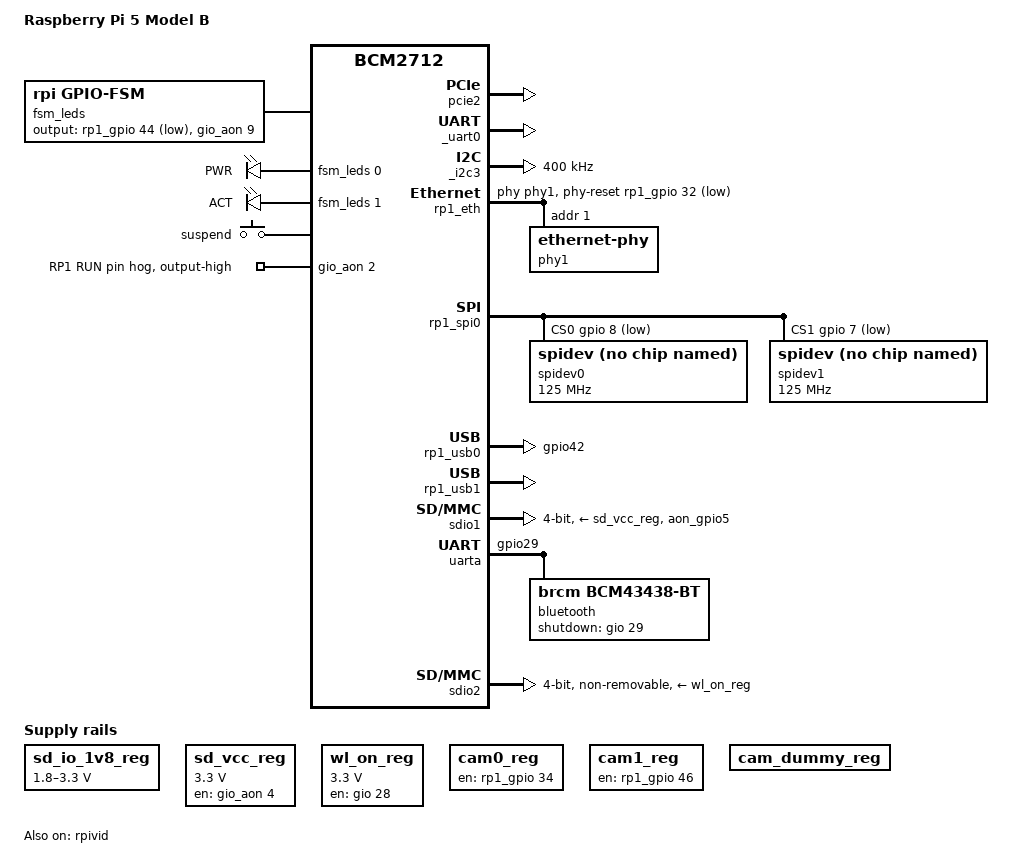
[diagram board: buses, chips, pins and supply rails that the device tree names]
// SPDX-License-Identifier: GPL-2.0
/dts-v1/;

#include <dt-bindings/gpio/gpio.h>
#include <dt-bindings/clock/rp1.h>
#include <dt-bindings/interrupt-controller/irq.h>
#include <dt-bindings/mfd/rp1.h>
#include <dt-bindings/pwm/pwm.h>
#include <dt-bindings/reset/raspberrypi,firmware-reset.h>
#include <dt-bindings/gpio/gpio-fsm.h>

#define PWR   GF_SW(0)
#define ACT   GF_SW(1)
#define RED   GF_OP(0)
#define GREEN GF_OP(1)

#define i2c0 _i2c0
#define i2c3 _i2c3
#define i2c4 _i2c4
#define i2c5 _i2c5
#define i2c6 _i2c6
#define i2c8 _i2c8
#define i2s _i2s
#define pwm0 _pwm0
#define pwm1 _pwm1
#define spi0 _spi0
#define spi3 _spi3
#define spi4 _spi4
#define spi5 _spi5
#define spi6 _spi6
#define uart0 _uart0
#define uart2 _uart2
#define uart3 _uart3
#define uart4 _uart4
#define uart5 _uart5

#include "bcm2712.dtsi"

#undef i2c0
#undef i2c3
#undef i2c4
#undef i2c5
#undef i2c6
#undef i2c8
#undef i2s
#undef pwm0
#undef pwm1
#undef spi0
#undef spi3
#undef spi4
#undef spi5
#undef spi6
#undef uart0
#undef uart2
#undef uart3
#undef uart4
#undef uart5

/ {
	compatible = "raspberrypi,5-model-b", "brcm,bcm2712";
	model = "Raspberry Pi 5 Model B";

	/* Will be filled by the bootloader */
	memory@0 {
		device_type = "memory";
		reg = <0 0 0x28000000>;
	};

	fsm_leds: fsm_leds {
		compatible = "rpi,gpio-fsm";

		debug = <0>;
		gpio-controller;
		#gpio-cells = <2>;
		num-swgpios = <2>;
		gpio-line-names = "pwr", "act";
		output-gpios = <&rp1_gpio 44 GPIO_ACTIVE_LOW>,  // RED
			       <&gio_aon   9 GPIO_ACTIVE_HIGH>; // GREEN
		shutdown-timeout-ms = <200>;

		p1a0 {
			start_state;
			shutdown_state;
			set = <RED 1>, <GREEN 0>;
			p1a1 = <ACT 1>;
			p0a0 = <PWR 0>;
		};

		p1a1 {
			set = <RED 0>, <GREEN 1>;
			p1a1_dally = <ACT 0>;
			p1a0 = <GF_SHUTDOWN 0>;
			p0a1 = <PWR 0>;
		};

		p1a1_dally {
			set = <GREEN 1>;
			p1a0 = <GF_DELAY 50>, <GF_SHUTDOWN 0>;
			p1a1 = <ACT 1>;
			p0a0 = <PWR 0>;
		};

		p0a0 {
			shutdown_state;
			set = <RED 0>, <GREEN 0>;
			p0a1 = <ACT 1>;
			p1a0 = <PWR 1>;
		};

		p0a1 {
			set = <RED 0>, <GREEN 1>;
			p0a0 = <ACT 0>, <GF_SHUTDOWN 0>;
			p1a1 = <PWR 1>;
		};
	};

	leds: leds {
		compatible = "gpio-leds";

		pwr_led: led-pwr {
			label = "PWR";
			gpios = <&fsm_leds 0 GPIO_ACTIVE_HIGH>;
			default-state = "off";
			linux,default-trigger = "default-on";
		};

		act_led: led-act {
			label = "ACT";
			gpios = <&fsm_leds 1 GPIO_ACTIVE_HIGH>;
			default-state = "off";
			linux,default-trigger = "mmc0";
		};
	};

	sd_io_1v8_reg: sd_io_1v8_reg {
		compatible = "regulator-gpio";
		regulator-name = "vdd-sd-io";
		regulator-min-microvolt = <1800000>;
		regulator-max-microvolt = <3300000>;
		regulator-boot-on;
		regulator-always-on;
		regulator-settling-time-us = <5000>;
		gpios = <&gio_aon 3 GPIO_ACTIVE_HIGH>;
		states = <1800000 0x1
			  3300000 0x0>;
		status = "okay";
	};

	sd_vcc_reg: sd_vcc_reg {
		compatible = "regulator-fixed";
		regulator-name = "vcc-sd";
		regulator-min-microvolt = <3300000>;
		regulator-max-microvolt = <3300000>;
		regulator-boot-on;
		enable-active-high;
		gpios = <&gio_aon 4 GPIO_ACTIVE_HIGH>;
		status = "okay";
	};

	wl_on_reg: wl_on_reg {
		compatible = "regulator-fixed";
		regulator-name = "wl-on-regulator";
		regulator-min-microvolt = <3300000>;
		regulator-max-microvolt = <3300000>;
		pinctrl-0 = <&wl_on_pins>;
		pinctrl-names = "default";

		gpio = <&gio 28 GPIO_ACTIVE_HIGH>;

		startup-delay-us = <150000>;
		enable-active-high;
	};

	clocks: clocks {
	};

	cam1_clk: cam1_clk {
		compatible = "fixed-clock";
		#clock-cells = <0>;
		status = "disabled";
	};

	cam0_clk: cam0_clk {
		compatible = "fixed-clock";
		#clock-cells = <0>;
		status = "disabled";
	};

	cam0_reg: cam0_reg {
		compatible = "regulator-fixed";
		regulator-name = "cam0_reg";
		enable-active-high;
		status = "okay";
		gpio = <&rp1_gpio 34 0>;  // CD0_IO0_MICCLK, to MIPI 0 connector
	};

	cam1_reg: cam1_reg {
		compatible = "regulator-fixed";
		regulator-name = "cam1_reg";
		enable-active-high;
		status = "okay";
		gpio = <&rp1_gpio 46 0>;  // CD1_IO0_MICCLK, to MIPI 1 connector
	};

	cam_dummy_reg: cam_dummy_reg {
		compatible = "regulator-fixed";
		regulator-name = "cam-dummy-reg";
		status = "okay";
	};
};

rp1_target: &pcie2 {
	status = "okay";
};

// Add some labels to 2712 device

// The system UART
uart10: &_uart0 { status = "okay"; };

i2c_rp1boot: &_i2c3 { };

#include "rp1.dtsi"

&rp1 {
	// PCIe address space layout:
	// 00_00000000-00_00xxxxxx = RP1 peripherals
	// 10_00000000-1x_xxxxxxxx = up to 64GB system RAM

	// outbound access aimed at PCIe 0_00xxxxxx -> RP1 c0_40xxxxxx
	// This is the RP1 peripheral space
	ranges = <0xc0 0x40000000
		  0x02000000 0x00 0x00000000
		  0x00 0x00400000>;

	dma-ranges =
	// inbound RP1 1x_xxxxxxxx -> PCIe 1x_xxxxxxxx
		     <0x10 0x00000000
		      0x43000000 0x10 0x00000000
		      0x10 0x00000000>,

	// inbound RP1 c0_40xxxxxx -> PCIe 00_00xxxxxx
	// This allows the RP1 DMA controller to address RP1 hardware
		     <0xc0 0x40000000
		      0x02000000 0x0 0x00000000
		      0x0 0x00400000>,

	// inbound RP1 0x_xxxxxxxx -> PCIe 1x_xxxxxxxx
		     <0x00 0x00000000
		      0x02000000 0x10 0x00000000
		      0x10 0x00000000>;
};

// Expose RP1 nodes as system nodes with labels

&rp1_dma  {
	status = "okay";
};

&rp1_eth {
	status = "okay";
	phy-handle = <&phy1>;
	phy-reset-gpios = <&rp1_gpio 32 GPIO_ACTIVE_LOW>;
	phy-reset-duration = <5>;

	phy1: ethernet-phy@1 {
		reg = <0x1>;
	};
};

gpio: &rp1_gpio {
	status = "okay";
};

i2c0: &rp1_i2c0 { };
i2c1: &rp1_i2c1 { };
i2c2: &rp1_i2c2 { };
i2c3: &rp1_i2c3 { };
i2c4: &rp1_i2c4 { };
i2c5: &rp1_i2c5 { };
i2c6: &rp1_i2c6 { };
i2s:  &rp1_i2s0 { };
i2s_clk_producer: &rp1_i2s0 { };
i2s_clk_consumer: &rp1_i2s1 { };
pwm0: &rp1_pwm0 { };
pwm1: &rp1_pwm1 { };
spi0: &rp1_spi0 { };
spi1: &rp1_spi1 { };
spi2: &rp1_spi2 { };
spi3: &rp1_spi3 { };
spi4: &rp1_spi4 { };
spi5: &rp1_spi5 { };
vec: &rp1_vec { };

uart0_pins: &rp1_uart0_14_15 {};
uart0_ctsrts_pins: &rp1_uart0_ctsrts_16_17 {};
uart0: &rp1_uart0 {
	pinctrl-0 = <&uart0_pins>;
};

uart1_pins: &rp1_uart1_0_1 {};
uart1_ctsrts_pins: &rp1_uart1_ctsrts_2_3 {};
uart1: &rp1_uart1 { };

uart2_pins: &rp1_uart2_4_5 {};
uart2_ctsrts_pins: &rp1_uart2_ctsrts_6_7 {};
uart2: &rp1_uart2 { };

uart3_pins: &rp1_uart3_8_9 {};
uart3_ctsrts_pins: &rp1_uart3_ctsrts_10_11 {};
uart3: &rp1_uart3 { };

uart4_pins: &rp1_uart4_12_13 {};
uart4_ctsrts_pins: &rp1_uart4_ctsrts_14_15 {};
uart4: &rp1_uart4 { };

&rp1_usb0 {
	pinctrl-0 = <&usb_vbus_pins>;
	pinctrl-names = "default";
	status = "okay";
};

&rp1_usb1 {
	status = "okay";
};

// A few extra labels to keep overlays happy

i2c0if: &rp1_gpio {};
i2c0mux: &rp1_gpio {};

i2c_csi_dsi0: &i2c6 { // Note: This is for MIPI0 connector only
	pinctrl-0 = <&rp1_i2c6_38_39>;
	pinctrl-names = "default";
};

i2c_csi_dsi1: &i2c4 { // Note: This is for MIPI1 connector only
	pinctrl-0 = <&rp1_i2c4_40_41>;
	pinctrl-names = "default";
};

i2c_csi_dsi: &i2c_csi_dsi1 { }; // An alias for compatibility

i2c_vc: &i2c0 {      // This is pins 27,28 on the header (not MIPI)
	pinctrl-0 = <&rp1_i2c0_0_1>;
	pinctrl-names = "default";
};

i2c_arm: &i2c1 {
	pinctrl-names = "default";
	pinctrl-0 = <&rp1_i2c1_2_3>;
};

&rp1_i2s0 {
	pinctrl-names = "default";
	pinctrl-0 = <&rp1_i2s0_18_21>;
};

&rp1_i2s1 {
	pinctrl-names = "default";
	pinctrl-0 = <&rp1_i2s1_18_21>;
};

csi0: &rp1_csi0 { };
csi1: &rp1_csi1 { };
dsi0: &rp1_dsi0 { };
dsi1: &rp1_dsi1 { };
dpi: &rp1_dpi { };
dpi_18bit_cpadhi_gpio0: &rp1_dpi_18bit_cpadhi_gpio0 { };
dpi_18bit_cpadhi_gpio2: &rp1_dpi_18bit_cpadhi_gpio2 { };
dpi_18bit_gpio0:        &rp1_dpi_18bit_gpio0        { };
dpi_18bit_gpio2:        &rp1_dpi_18bit_gpio2        { };
dpi_16bit_cpadhi_gpio0: &rp1_dpi_16bit_cpadhi_gpio0 { };
dpi_16bit_cpadhi_gpio2: &rp1_dpi_16bit_cpadhi_gpio2 { };
dpi_16bit_gpio0:        &rp1_dpi_16bit_gpio0        { };
dpi_16bit_gpio2:        &rp1_dpi_16bit_gpio2        { };

&ddc0 {
	status = "disabled";
};

&ddc1 {
	status = "disabled";
};

&hdmi0 {
	clocks = <&firmware_clocks 13>, <&firmware_clocks 14>, <&dvp 0>, <&clk_27MHz>;
	clock-names = "hdmi", "bvb", "audio", "cec";
	status = "disabled";
};

&hdmi1 {
	clocks = <&firmware_clocks 13>, <&firmware_clocks 14>, <&dvp 1>, <&clk_27MHz>;
	clock-names = "hdmi", "bvb", "audio", "cec";
	status = "disabled";
};

&hvs {
	clocks = <&firmware_clocks 4>, <&firmware_clocks 16>;
	clock-names = "core", "disp";
};

&mop {
	status = "disabled";
};

&moplet {
	status = "disabled";
};

&pixelvalve0 {
	status = "disabled";
};

&pixelvalve1 {
	status = "disabled";
};

/* SDIO1 is used to drive the SD card */
&sdio1 {
	pinctrl-0 = <&emmc_sd_pulls>, <&emmc_aon_cd_pins>;
	pinctrl-names = "default";
	vqmmc-supply = <&sd_io_1v8_reg>;
	vmmc-supply = <&sd_vcc_reg>;
	bus-width = <4>;
	sd-uhs-sdr50;
	sd-uhs-ddr50;
	sd-uhs-sdr104;
	//broken-cd;
	//no-1-8-v;
	status = "okay";
};

&pinctrl_aon {
	emmc_aon_cd_pins: emmc_aon_cd_pins {
		function = "sd_card_g";
		pins = "aon_gpio5";
		bias-pull-up;
	};

	suspend_button_pins: suspend_button_pins {
		function = "gpio";
		pins = "aon_gpio12";
		bias-pull-up;
	};

	/* Slight hack - only one PWM pin (status LED) is usable */
	aon_pwm_1pin: aon_pwm_1pin {
		function = "aon_pwm";
		pins = "aon_gpio9";
	};
};

&pinctrl {
	wl_on_pins: wl_on_pins {
		function = "gpio";
		pins = "gpio28";
	};

	bt_shutdown_pins: bt_shutdown_pins {
		function = "gpio";
		pins = "gpio29";
	};

	emmc_sd_pulls: emmc_sd_pulls {
		function = "emmc_dat0", "emmc_dat1", "emmc_dat2", "emmc_dat3";
		bias-pull-up;
	};
};

/* uarta communicates with the BT module */
&uarta {
	uart-has-rtscts;
	auto-flow-control;
	status = "okay";
	clock-frequency = <96000000>;
	pinctrl-0 = <&uarta_24_pins &bt_shutdown_pins>;
	pinctrl-names = "default";

	bluetooth: bluetooth {
		compatible = "brcm,bcm43438-bt";
		max-speed = <3000000>;
		shutdown-gpios = <&gio 29 GPIO_ACTIVE_HIGH>;
		local-bd-address = [ 00 00 00 00 00 00 ];
	};
};

&i2c_rp1boot {
	clock-frequency = <400000>;
	pinctrl-0 = <&i2c3_m4_agpio0_pins>;
	pinctrl-names = "default";
};

spi0_pins: &rp1_spi0_gpio9 {};
spi0_cs_pins: &rp1_spi0_cs_gpio7 {};

&spi0 {
	pinctrl-names = "default";
	pinctrl-0 = <&spi0_pins &spi0_cs_pins>;
	cs-gpios = <&gpio 8 1>, <&gpio 7 1>;

	spidev0: spidev@0 {
		compatible = "spidev";
		reg = <0>;	/* CE0 */
		#address-cells = <1>;
		#size-cells = <0>;
		spi-max-frequency = <125000000>;
	};

	spidev1: spidev@1 {
		compatible = "spidev";
		reg = <1>;	/* CE1 */
		#address-cells = <1>;
		#size-cells = <0>;
		spi-max-frequency = <125000000>;
	};
};

// =============================================
// Downstream rpi- changes

#include "bcm2712-rpi.dtsi"

/ {
	chosen {
		bootargs = "coherent_pool=1M 8250.nr_uarts=1 snd_bcm2835.enable_compat_alsa=0 snd_bcm2835.enable_hdmi=1";
		stdout-path = "serial0";
	};

	fan: cooling_fan {
		status = "disabled";
		compatible = "pwm-fan";
		#cooling-cells = <2>;
		cooling-min-state = <0>;
		cooling-max-state = <3>;
		cooling-levels = <0 75 150 250>;
		pwms = <&rp1_pwm1 3 41566 PWM_POLARITY_INVERTED>;
	};

	suspend_button {
		compatible = "gpio-keys";

		pinctrl-names = "default";
		pinctrl-0 = <&suspend_button_pins>;
		status = "okay";

		// Define a single key, called "suspend" that monitors the gpio and sends KEY_SUSPEND
		// (keycode 205, see
		// https://github.com/torvalds/linux/blob/v4.12/include/uapi/linux/input-event-codes.h#L190)
		suspend {
			label = "suspend";
			linux,code = <205>; // KEY_SUSPEND
			interrupt-parent = <&gio>;
			interrupts = <14 IRQ_TYPE_EDGE_RISING>;
			debounce-interval = <0>; // ms
		};
	};
};

&usb {
	power-domains = <&power RPI_POWER_DOMAIN_USB>;
};

&xhci {
	power-domains = <&power RPI_POWER_DOMAIN_USB>;
};

/* SDIO2 drives the WLAN interface */
&sdio2 {
	pinctrl-0 = <&sdio2_30_pins>;
	pinctrl-names = "default";
	bus-width = <4>;
	vmmc-supply = <&wl_on_reg>;
	sd-uhs-ddr50;
	non-removable;
	status = "okay";
};

&rpivid {
	status = "okay";
};

// =============================================
// Board specific stuff here

&rp1_pwm1 {
	status = "disabled";
	pinctrl-0 = <&rp1_pwm1_gpio45>;
	pinctrl-names = "default";
};

&cpu_thermal {
	trips {
		// Add more thresholds below the point at which
		// firmware starts throttling (80C)
		cpu_hot: cpu-hot {
			temperature = <70000>;
			hysteresis = <5000>;
			type = "active";
		};

		cpu_active: cpu-active {
			temperature = <60000>;
			hysteresis = <10000>;
			type = "active";
		};

		cpu_passive: cpu-passive {
			temperature = <40000>;
			hysteresis = <10000>;
			type = "passive";
		};
	};

	cooling-maps {
		cpu-crit {
			trip = <&cpu_crit>;
			cooling-device = <&fan 3 3>;
		};

		cpu-hot {
			// Max fan starts below crit temp
			trip = <&cpu_hot>;
			cooling-device = <&fan 3 3>;
		};

		cpu-active {
			trip = <&cpu_active>;
			cooling-device = <&fan 2 2>;
		};

		cpu-passive {
			// Fan off
			trip = <&cpu_passive>;
			cooling-device = <&fan 0 0>;
		};
	};
};

&gio {
	// The GPIOs above 35 are not used on Pi 5, so shrink the upper bank
	// to reduce the clutter in gpioinfo/pinctrl
	brcm,gpio-bank-widths = <32 4>;

	gpio-line-names =
		"-", // GPIO_000
		"2712_BOOT_CS_N", // GPIO_001
		"2712_BOOT_MISO", // GPIO_002
		"2712_BOOT_MOSI", // GPIO_003
		"2712_BOOT_SCLK", // GPIO_004
		"-", // GPIO_005
		"-", // GPIO_006
		"-", // GPIO_007
		"-", // GPIO_008
		"-", // GPIO_009
		"-", // GPIO_010
		"-", // GPIO_011
		"-", // GPIO_012
		"-", // GPIO_013
		"PWR_BUTTON", // GPIO_014
		"2712_G15_FS", // GPIO_015
		"-", // GPIO_016
		"-", // GPIO_017
		"-", // GPIO_018
		"-", // GPIO_019
		"2712_G20_FS", // GPIO_020
		"2712_G21_FS", // GPIO_021
		"-", // GPIO_022
		"-", // GPIO_023
		"BT_RTS", // GPIO_024
		"BT_CTS", // GPIO_025
		"BT_TXD", // GPIO_026
		"BT_RXD", // GPIO_027
		"WL_ON", // GPIO_028
		"BT_ON", // GPIO_029
		"WIFI_SDIO_CLK", // GPIO_030
		"WIFI_SDIO_CMD", // GPIO_031
		"WIFI_SDIO_D0", // GPIO_032
		"WIFI_SDIO_D1", // GPIO_033
		"WIFI_SDIO_D2", // GPIO_034
		"WIFI_SDIO_D3"; // GPIO_035
};

&gio_aon {
	gpio-line-names =
		"RP1_SDA", // AON_GPIO_00
		"RP1_SCL", // AON_GPIO_01
		"RP1_RUN", // AON_GPIO_02
		"SD_IOVDD_SEL", // AON_GPIO_03
		"SD_PWR_ON", // AON_GPIO_04
		"SD_CDET_N", // AON_GPIO_05
		"SD_FLG_N", // AON_GPIO_06
		"-", // AON_GPIO_07
		"2712_WAKE", // AON_GPIO_08
		"2712_STAT_LED", // AON_GPIO_09
		"-", // AON_GPIO_10
		"-", // AON_GPIO_11
		"PMIC_INT", // AON_GPIO_12
		"UART_TX_FS", // AON_GPIO_13
		"UART_RX_FS", // AON_GPIO_14
		"-", // AON_GPIO_15
		"-", // AON_GPIO_16

		// Pad bank0 out to 32 entries
		"", "", "", "", "", "", "", "", "", "", "", "", "", "", "",

		"HDMI0_SCL", // AON_SGPIO_00
		"HDMI0_SDA", // AON_SGPIO_01
		"HDMI1_SCL", // AON_SGPIO_02
		"HDMI1_SDA", // AON_SGPIO_03
		"PMIC_SCL", // AON_SGPIO_04
		"PMIC_SDA"; // AON_SGPIO_05

	rp1_run_hog {
		gpio-hog;
		gpios = <2 GPIO_ACTIVE_HIGH>;
		output-high;
		line-name = "RP1 RUN pin";
	};
};

&rp1_gpio {
	gpio-line-names =
		"ID_SD", // GPIO0
		"ID_SC", // GPIO1
		"PIN3", // GPIO2
		"PIN5", // GPIO3
		"PIN7", // GPIO4
		"PIN29", // GPIO5
		"PIN31", // GPIO6
		"PIN26", // GPIO7
		"PIN24", // GPIO8
		"PIN21", // GPIO9
		"PIN19", // GPIO10
		"PIN23", // GPIO11
		"PIN32", // GPIO12
		"PIN33", // GPIO13
		"PIN8", // GPIO14
		"PIN10", // GPIO15
		"PIN36", // GPIO16
		"PIN11", // GPIO17
		"PIN12", // GPIO18
		"PIN35", // GPIO19
		"PIN38", // GPIO20
		"PIN40", // GPIO21
		"PIN15", // GPIO22
		"PIN16", // GPIO23
		"PIN18", // GPIO24
		"PIN22", // GPIO25
		"PIN37", // GPIO26
		"PIN13", // GPIO27

		"-", // GPIO28
		"FAN_TACH", // GPIO29
		"HOST_SDA", // GPIO30
		"HOST_SCL", // GPIO31
		"ETH_RST_B", // GPIO32
		"-", // GPIO33

		"CD0_IO0_MICCLK", // GPIO34
		"CD0_IO0_MICDAT0", // GPIO35
		"RP1_PCIE_CLKREQ_N", // GPIO36
		"-", // GPIO37
		"CD0_SDA", // GPIO38
		"CD0_SCL", // GPIO39
		"CD1_SDA", // GPIO40
		"CD1_SCL", // GPIO41
		"USB_VBUS_EN", // GPIO42
		"USB_OC_N", // GPIO43
		"RP1_STAT_LED", // GPIO44
		"FAN_PWM", // GPIO45
		"CD1_IO0_MICCLK", // GPIO46
		"2712_WAKE", // GPIO47
		"CD1_IO1_MICDAT1", // GPIO48
		"RP1_BOOT_SCLK", // GPIO49
		"RP1_BOOT_MISO", // GPIO50
		"RP1_BOOT_SMOSI", // GPIO51
		"RP1_BOOT_CS_N", // GPIO52
		"-"; // GPIO53

	usb_vbus_pins: usb_vbus_pins {
		function = "gpio";
		pins = "gpio42";
	};
};

/ {
	aliases {
		blconfig = &blconfig;
		bluetooth = &bluetooth;
		ethernet0 = &rp1_eth;
		fb = &fb;
		mailbox = &mailbox;
		mmc0 = &sdio1;
		uart0 = &uart0;
		uart1 = &uart1;
		uart2 = &uart2;
		uart3 = &uart3;
		uart4 = &uart4;
		uart10 = &uart10;
		serial0 = &uart0;
		serial1 = &uart1;
		i2c = &i2c_arm;
		i2c0 = &i2c0;
		i2c1 = &i2c1;
		i2c2 = &i2c2;
		i2c3 = &i2c3;
		i2c4 = &i2c4;
		i2c5 = &i2c5;
		i2c6 = &i2c6;
		i2c9 = &i2c_rp1boot;
		// Bit-bashed i2c_gpios start at 10
		spi0 = &spi0;
		spi1 = &spi1;
		spi2 = &spi2;
		spi3 = &spi3;
		spi4 = &spi4;
		spi5 = &spi5;
		gpio0 = &gpio;
		gpio1 = &gio;
		gpio2 = &gio_aon;
		gpio3 = &pinctrl;
		gpio4 = &pinctrl_aon;
		usb0 = &rp1_usb0;
		usb1 = &rp1_usb1;
	};

	__overrides__ {
		bdaddr = <&bluetooth>, "local-bd-address[";
		bluetooth = <&bluetooth>, "status";
		cooling_fan = <&fan>, "status", <&rp1_pwm1>, "status";
		i2c_rp1boot = <&i2c_rp1boot>, "status";
		i2c0 = <&i2c0>, "status";
		i2c1 = <&i2c1>, "status";
		i2c = <&i2c1>, "status";
		i2c_arm = <&i2c_arm>, "status";
		i2c_vc = <&i2c_vc>, "status";
		i2c_csi_dsi = <&i2c_csi_dsi>, "status";
		i2c_csi_dsi0 = <&i2c_csi_dsi0>, "status";
		i2c_csi_dsi1 = <&i2c_csi_dsi1>, "status";
		i2c0_baudrate = <&i2c0>, "clock-frequency:0";
		i2c1_baudrate = <&i2c1>, "clock-frequency:0";
		i2c_baudrate = <&i2c_arm>, "clock-frequency:0";
		i2c_arm_baudrate = <&i2c_arm>, "clock-frequency:0";
		i2c_vc_baudrate = <&i2c_vc>, "clock-frequency:0";
		nvme = <&pciex1>, "status";
		pciex1 = <&pciex1>, "status";
		pciex4 = <&pciex4>, "status";
		pwm0 = <&pwm0>, "status";
		pwm1 = <&pwm1>, "status";
		random = <&random>, "status";
		spi = <&spi0>, "status";
		uart0 = <&uart0>, "status";

		act_led_activelow = <&act_led>, "active-low?";
		act_led_trigger = <&act_led>, "linux,default-trigger";
		pwr_led_activelow = <&pwr_led>, "gpios:8";
		pwr_led_trigger = <&pwr_led>, "linux,default-trigger";
	};
};
